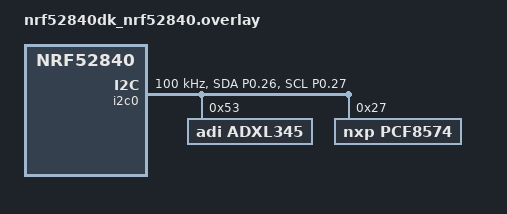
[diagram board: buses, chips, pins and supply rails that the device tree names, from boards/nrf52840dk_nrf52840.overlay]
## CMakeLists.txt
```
#
# Copyright (c) 2020 Nordic Semiconductor ASA
#
# SPDX-License-Identifier: LicenseRef-Nordic-5-Clause
#
cmake_minimum_required(VERSION 3.20.0)

find_package(Zephyr REQUIRED HINTS $ENV{ZEPHYR_BASE})
project(ble_mesh_accel)

target_include_directories(app PRIVATE include)

target_sources(app PRIVATE
	src/main.c
	src/chat_cli.c
	src/model_handler.c)
```

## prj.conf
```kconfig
# ── I2C + Sensor ────────────────────────────────────────────────────────────
CONFIG_I2C=y
CONFIG_PINCTRL=y
CONFIG_SENSOR=y
CONFIG_ADXL345=y

# ── BLE Mesh ─────────────────────────────────────────────────────────────────
CONFIG_BT=y
CONFIG_BT_MESH=y
CONFIG_BT_OBSERVER=y
CONFIG_BT_PERIPHERAL=y
CONFIG_BT_MESH_RELAY=y
CONFIG_BT_MESH_GATT_PROXY=y
CONFIG_BT_MESH_PB_GATT=y
# MESSAGE_LENGTH=90 → BUF = OP(3) + payload(91) + MIC_SHORT(4) = 98 bytes
# ceil(98/12) = 9 segments required
CONFIG_BT_MESH_TX_SEG_MAX=9
CONFIG_BT_MESH_RX_SEG_MAX=9
# 동시 세그먼트 TX 컨텍스트 수 (기본 1 → EBUSY 방지)
CONFIG_BT_MESH_TX_SEG_MSG_COUNT=2

# ── Persistent storage (Mesh 네트워크 키 / 주소 Flash 저장) ──────────────────
CONFIG_FLASH=y
CONFIG_FLASH_MAP=y
CONFIG_NVS=y
CONFIG_SETTINGS=y
CONFIG_BT_SETTINGS=y
CONFIG_MPU_ALLOW_FLASH_WRITE=y

# ── Shell (UART provisioning 명령 + model_handler 디버그 출력) ────────────────
# SHELL_BACKEND_UART 는 nRF52840 DK 기본 defconfig에서 자동 활성화된다.
CONFIG_SHELL=y

# ── DK library (OOB 프로비저닝 버튼 + attention LED blink) ───────────────────
CONFIG_DK_LIBRARY=y
CONFIG_HWINFO=y
CONFIG_BT_MESH_DK_PROV=y

# ── Shell 스택 크기 (sensor get 시 BUS FAULT 방지) ───────────────────────────
CONFIG_SHELL_STACK_SIZE=4096

# ── Logging ──────────────────────────────────────────────────────────────────
CONFIG_LOG=y
```

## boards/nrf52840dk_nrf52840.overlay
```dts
/*
 * nRF52840 DK — 1602 LCD (PCF8574 I2C backpack) + ADXL345 가속도계 (GY-291) overlay
 *
 * ── 1602 LCD (PCF8574 I2C 백팩) 연결 ──────────────────────────────────────
 *  LCD 모듈   │  nRF52840 DK
 * ────────────┼────────────────────────────────────────────────────────────
 *  GND        │  GND  (J2 핀1)
 *  VCC        │  VCC (3.3V → J2 핀2, 또는 5V → P22 핀3)
 *  SDA        │  P0.26 (Arduino A4 / J3 핀7)   ← ADXL345 SDA 공유
 *  SCL        │  P0.27 (Arduino A5 / J3 핀8)   ← ADXL345 SCL 공유
 * ─────────────────────────────────────────────────────────────────────────
 *
 * PCF8574 I2C 주소: 0x27 (A0=A1=A2=1, 기본값)
 *                  0x3F (PCF8574AT 칩 사용 시)
 *
 * ── GY-291 (ADXL345) 연결 ─────────────────────────────────────────────────
 *  GY-291 핀  │  nRF52840 DK                    │  비고
 * ────────────┼─────────────────────────────────┼───────────────────────────
 *  GND        │  GND  (J2 핀1)                  │
 *  VCC        │  3.3V (J2 핀2)                  │  3.3V 전용 — 5V 금지
 *  CS         │  3.3V (J2 핀2)                  │  HIGH = I2C 모드 선택
 *  SDO        │  GND  (J2 핀1)                  │  LOW  = I2C 주소 0x53
 *             │                                 │  HIGH = I2C 주소 0x1D
 *  SDA        │  P0.26 (Arduino A4 / J3 핀7)   │  LCD SDA와 동일 버스
 *  SCL        │  P0.27 (Arduino A5 / J3 핀8)   │  LCD SCL와 동일 버스
 *  INT1       │  P1.08 (Arduino D8 / J2 헤더)  │  선택사항 — 폴링 시 미연결 가능
 *  INT2       │  P1.10 (J2 확장 헤더)           │  선택사항 — 폴링 시 미연결 가능
 * ─────────────────────────────────────────────────────────────────────────
 *
 * ADXL345 I2C 주소: 0x53 (SDO → GND, 기본값)
 *                  0x1D (SDO → VCC)
 */

&pinctrl {
	i2c0_default: i2c0_default {
		group1 {
			psels = <NRF_PSEL(TWIM_SDA, 0, 26)>,
				<NRF_PSEL(TWIM_SCL, 0, 27)>;
			bias-pull-up;
		};
	};

	i2c0_sleep: i2c0_sleep {
		group1 {
			psels = <NRF_PSEL(TWIM_SDA, 0, 26)>,
				<NRF_PSEL(TWIM_SCL, 0, 27)>;
			low-power-enable;
			bias-pull-up;  /* sleep 중 버스 HIGH 유지 → 복귀 시 hang 방지 */
		};
	};
};

&i2c0 {
	compatible = "nordic,nrf-twim";
	status = "okay";
	pinctrl-0 = <&i2c0_default>;
	pinctrl-1 = <&i2c0_sleep>;
	pinctrl-names = "default", "sleep";
	clock-frequency = <I2C_BITRATE_STANDARD>;

	adxl345: adxl345@53 {
		compatible = "adi,adxl345";
		reg = <0x53>;
		/* SDO → VCC 연결 시 reg = <0x1D> 로 변경 */
		/* NCS v2.4.0 바인딩은 int-gpios 미지원 — 폴링 모드로 동작 */
	};

	/* PCF8574 I2C 백팩 (LCD 1602) — main.c 에서 i2c_write()로 직접 제어 */
	pcf8574: pcf8574@27 {
		compatible = "nxp,pcf8574";
		reg = <0x27>;
		/* PCF8574AT 칩 사용 시 reg = <0x3F> 로 변경 */
		gpio-controller;
		#gpio-cells = <2>;
		ngpios = <8>;
	};
};
```

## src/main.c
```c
/*
 * BLE Mesh 분산 가속도 모니터링 노드
 *
 * 동작:
 *   1. ADXL345 (I2C 0x53) 에서 X/Y/Z 가속도를 500 ms 마다 읽는다.
 *   2. Provisioned 상태이면 BLE Mesh로 데이터를 publish 한다.
 *      메시지 포맷: "A:<x_centi>,<y_centi>,<z_centi>"
 *      예) "A:123,-234,981" → x=1.23, y=-2.34, z=9.81 m/s²
 *   3. 다른 노드의 데이터를 수신하면 model_handler가 파싱해 저장한다.
 *   4. LCD 1602 (PCF8574 I2C 백팩 0x27) 에 표시한다.
 *      Line 0: 로컬 노드 X, Y 가속도
 *      Line 1: 수신한 원격 노드 주소 + X 가속도
 *              (미수신: "Mesh: waiting..."  / 미프로비전: "Mesh: no prov  ")
 *
 * I2C 버스 (P0.26 SDA / P0.27 SCL) 공유:
 *   ADXL345  @ 0x53
 *   PCF8574  @ 0x27
 *
 * BLE Mesh 프로비저닝:
 *   nRF Mesh 앱 또는 UART shell 명령으로 수행한다.
 *   프로비전 후 Chat CLI 모델에 App Key 바인딩 + 그룹 주소 구독 설정 필요.
 */

#include <zephyr/kernel.h>
#include <zephyr/device.h>
#include <zephyr/drivers/sensor.h>
#include <zephyr/drivers/i2c.h>
#include <zephyr/bluetooth/bluetooth.h>
#include <zephyr/settings/settings.h>
#include <bluetooth/mesh/dk_prov.h>
#include <dk_buttons_and_leds.h>
#include <stdio.h>

#include "model_handler.h"

#include <zephyr/logging/log.h>
LOG_MODULE_REGISTER(chat, CONFIG_LOG_DEFAULT_LEVEL);

#define ACCEL_NODE              DT_NODELABEL(adxl345)
#define LCD_I2C_NODE            DT_NODELABEL(i2c0)
#define LCD_ADDR                0x27
#define POLL_INTERVAL_MS        200   /* 센서 샘플링 주기 (LCD 갱신 기준) */
#define CHANGE_THRESHOLD_CENTI  5     /* 변화 감지 임계값: 0.05 m/s² */
#define MIN_PUB_INTERVAL_MS     1000  /* 변화 감지 시에도 최소 전송 간격 */
#define KEEPALIVE_INTERVAL_MS   5000  /* 변화 없어도 강제 publish 주기 */

/* PCF8574 핀 마스크 */
#define LCD_RS  BIT(0)
#define LCD_RW  BIT(1)
#define LCD_E   BIT(2)
#define LCD_BL  BIT(3)

static const struct device *lcd_i2c;

/* ── 이벤트 기반 publish 상태 ─────────────────────────────────────────────── */

static int32_t last_pub_x = INT32_MIN;
static int32_t last_pub_y = INT32_MIN;
static int32_t last_pub_z = INT32_MIN;
static int64_t last_pub_ms;

static inline int32_t i32_abs(int32_t v) { return v < 0 ? -v : v; }

static bool accel_needs_publish(int32_t x, int32_t y, int32_t z)
{
	int64_t elapsed = k_uptime_get() - last_pub_ms;

	/* keepalive: 변화 여부 무관하게 강제 전송 */
	if (elapsed >= KEEPALIVE_INTERVAL_MS) {
		return true;
	}
	/* 최소 전송 간격 미달 시 변화가 있어도 전송 보류 */
	if (elapsed < MIN_PUB_INTERVAL_MS) {
		return false;
	}
	return (i32_abs(x - last_pub_x) > CHANGE_THRESHOLD_CENTI ||
		i32_abs(y - last_pub_y) > CHANGE_THRESHOLD_CENTI ||
		i32_abs(z - last_pub_z) > CHANGE_THRESHOLD_CENTI);
}

/* ── PCF8574 / HD44780 저수준 ──────────────────────────────────────────── */

static void pcf_write(uint8_t val)
{
	i2c_write(lcd_i2c, &val, 1, LCD_ADDR);
}

static void lcd_pulse_enable(uint8_t data)
{
	pcf_write(data | LCD_E);
	k_busy_wait(1);
	pcf_write(data & ~LCD_E);
	k_busy_wait(50);
}

static void lcd_write_nibble(uint8_t nibble, uint8_t flags)
{
	uint8_t data = (nibble << 4) | flags | LCD_BL;
	lcd_pulse_enable(data);
}

static void lcd_send(uint8_t byte, uint8_t flags)
{
	lcd_write_nibble(byte >> 4, flags);
	lcd_write_nibble(byte & 0x0F, flags);
	k_busy_wait(50);
}

static inline void lcd_cmd(uint8_t cmd) { lcd_send(cmd, 0); }
static inline void lcd_putc(char c)     { lcd_send((uint8_t)c, LCD_RS); }

/* ── LCD 초기화 (4비트 모드) ─────────────────────────────────────────────── */

static void lcd_init(void)
{
	k_msleep(50);

	/* 4비트 초기화 시퀀스 */
	lcd_write_nibble(0x03, 0); k_msleep(5);
	lcd_write_nibble(0x03, 0); k_busy_wait(150);
	lcd_write_nibble(0x03, 0); k_busy_wait(150);
	lcd_write_nibble(0x02, 0); k_busy_wait(150);

	lcd_cmd(0x28); /* 4비트, 2라인, 5×8 */
	lcd_cmd(0x0C); /* Display ON, 커서 OFF */
	lcd_cmd(0x06); /* 자동 증가, 시프트 없음 */
	lcd_cmd(0x01); /* 화면 지우기 */
	k_msleep(2);
}

static void lcd_set_cursor(uint8_t col, uint8_t row)
{
	uint8_t addr = col + (row == 0 ? 0x00 : 0x40);
	lcd_cmd(0x80 | addr);
}

static void lcd_puts(const char *s)
{
	while (*s) {
		lcd_putc(*s++);
	}
}

/* ── 값 포맷 함수 ──────────────────────────────────────────────────────── */

/*
 * sensor_value → 6문자 문자열: <부호><2정수>.<2소수>
 * 예) 1.23 → " 01.23"   -2.34 → "-02.34"
 * buf 크기: 최소 7바이트 (6문자 + null)
 */
static void fmt_sv(char *buf, const struct sensor_value *sv)
{
	int32_t i = sv->val1;
	int32_t f = sv->val2;

	bool neg = (i < 0) || (i == 0 && f < 0);
	if (i < 0) { i = -i; }
	if (f < 0) { f = -f; }

	f = f / 10000; /* micro → centi */

	snprintf(buf, 7, "%c%02d.%02d", neg ? '-' : ' ', (int)i, (int)f);
}

/*
 * centiunits (val × 100) → 6문자 문자열 (fmt_sv와 동일 포맷).
 * 원격 노드 수신 데이터 표시에 사용.
 * buf 크기: 최소 7바이트
 */
static void fmt_centi(char *buf, int32_t cv)
{
	bool neg = cv < 0;

	if (neg) { cv = -cv; }
	snprintf(buf, 7, "%c%02d.%02d", neg ? '-' : ' ',
		 (int)(cv / 100), (int)(cv % 100));
}

/* ── sensor_value → centiunits 변환 ────────────────────────────────────── */

static int32_t sv_to_centi(const struct sensor_value *sv)
{
	return sv->val1 * 100 + sv->val2 / 10000;
}

/* ── 메인 ──────────────────────────────────────────────────────────────── */

int main(void)
{
	int err;

	const struct device *accel = DEVICE_DT_GET(ACCEL_NODE);

	lcd_i2c = DEVICE_DT_GET(LCD_I2C_NODE);

	/* ── 하드웨어 초기화 ── */
	if (!device_is_ready(lcd_i2c)) {
		printk("I2C bus not ready\n");
		return -ENODEV;
	}

	if (!device_is_ready(accel)) {
		printk("ADXL345 not ready\n");
		return -ENODEV;
	}

	lcd_init();
	lcd_set_cursor(0, 0);
	lcd_puts(" BLE Mesh Init  ");
	lcd_set_cursor(0, 1);
	lcd_puts(" Please wait... ");

	/* ── DK 버튼 + LED 초기화 (프로비저닝 OOB + attention blink) ── */
	/* NCS v2.5.0: dk_buttons_and_leds_init() 제거 → 분리 호출 */
	err = dk_leds_init();
	if (err) {
		printk("LEDs init failed: %d\n", err);
		return err;
	}

	err = dk_buttons_init(NULL);
	if (err) {
		printk("Buttons init failed: %d\n", err);
		return err;
	}

	/* ── BT 스택 활성화 ── */
	err = bt_enable(NULL);
	if (err) {
		printk("bt_enable failed: %d\n", err);
		return err;
	}

	/* ── BLE Mesh 초기화 ──
	 * bt_mesh_dk_prov_init(): DK 보드 기반 OOB 프로비저닝 콜백 반환
	 *   - Output OOB: LED blink (숫자 표시)
	 *   - Input  OOB: 버튼 누름 횟수
	 * model_handler_init(): Chat CLI Vendor Model composition 반환
	 */
	err = bt_mesh_init(bt_mesh_dk_prov_init(), model_handler_init());
	if (err) {
		printk("bt_mesh_init failed: %d\n", err);
		return err;
	}

	/* ── Flash 설정 복원 (이전 프로비저닝 / 네트워크 키 로드) ── */
	if (IS_ENABLED(CONFIG_BT_SETTINGS)) {
		settings_load();
	}

	/* ── 프로비저닝 Bearer 활성화 ──
	 * settings_load()로 이미 프로비저닝된 경우 no-op.
	 * 미프로비저닝 상태이면 ADV + GATT bearer로 광고 시작 → 앱에서 인식 가능.
	 */
	bt_mesh_prov_enable(BT_MESH_PROV_ADV | BT_MESH_PROV_GATT);

	lcd_set_cursor(0, 0);
	lcd_puts("BLE Mesh Ready! ");
	lcd_set_cursor(0, 1);
	lcd_puts(bt_mesh_is_provisioned() ? "Provisioned!    "
					  : "Use nRF Mesh app");
	k_msleep(1500);

	/* ── 메인 루프: 센서 읽기 → 변화 감지 → Mesh publish → LCD 업데이트 ── */
	while (1) {
		struct sensor_value ax, ay, az;
		char xbuf[7], ybuf[7];
		char line[17];

		/* 1. ADXL345 샘플 취득 */
		if (sensor_sample_fetch(accel) < 0) {
			lcd_set_cursor(0, 0);
			lcd_puts("  Fetch Error   ");
			k_msleep(POLL_INTERVAL_MS);
			continue;
		}

		sensor_channel_get(accel, SENSOR_CHAN_ACCEL_X, &ax);
		sensor_channel_get(accel, SENSOR_CHAN_ACCEL_Y, &ay);
		sensor_channel_get(accel, SENSOR_CHAN_ACCEL_Z, &az);

		/* 2. 변화 감지 후 BLE Mesh publish
		 *    - 어느 축이든 CHANGE_THRESHOLD_CENTI 초과 변화 시 즉시 전송
		 *    - 변화 없어도 KEEPALIVE_INTERVAL_MS 마다 강제 전송 (gateway 온라인 감지용)
		 */
		if (bt_mesh_is_provisioned()) {
			int32_t cx = sv_to_centi(&ax);
			int32_t cy = sv_to_centi(&ay);
			int32_t cz = sv_to_centi(&az);

			if (accel_needs_publish(cx, cy, cz)) {
				model_handler_publish_accel(cx, cy, cz);
				last_pub_x  = cx;
				last_pub_y  = cy;
				last_pub_z  = cz;
				last_pub_ms = k_uptime_get();
			}
		}

		/* 3. LCD Line 0: 로컬 X, Y 가속도 */
		fmt_sv(xbuf, &ax);
		fmt_sv(ybuf, &ay);
		snprintf(line, sizeof(line), "X=%sY=%s", xbuf, ybuf);
		lcd_set_cursor(0, 0);
		lcd_puts(line);

		/* 4. LCD Line 1: 원격 노드 데이터 또는 상태 메시지 */
		if (!bt_mesh_is_provisioned()) {
			lcd_set_cursor(0, 1);
			lcd_puts("Mesh: no prov   ");
		} else {
			const struct model_handler_remote_accel *rem =
				model_handler_get_remote_accel();

			if (!rem->valid) {
				lcd_set_cursor(0, 1);
				lcd_puts("Mesh: waiting...");
			} else {
				/*
				 * 원격 노드 주소(4자리 hex) + X 가속도 표시
				 * 예) "R:0002 X+01.23  " (16자)
				 */
				char rx_buf[7];

				fmt_centi(rx_buf, rem->x_centi);
				snprintf(line, sizeof(line),
					 "R:%04X X%s   ",
					 rem->addr, rx_buf);
				lcd_set_cursor(0, 1);
				lcd_puts(line);
			}
		}

		k_msleep(POLL_INTERVAL_MS);
	}

	return 0;
}
```

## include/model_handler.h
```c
/*
 * Copyright (c) 2020 Nordic Semiconductor ASA
 *
 * SPDX-License-Identifier: LicenseRef-Nordic-5-Clause
 */

/**
 * @file
 * @brief Model handler
 */

#ifndef MODEL_HANDLER_H__
#define MODEL_HANDLER_H__

#include <zephyr/bluetooth/mesh.h>
#include <stdint.h>
#include <stdbool.h>

#ifdef __cplusplus
extern "C" {
#endif

/**
 * @brief BLE Mesh로 수신한 원격 노드 가속도 데이터.
 *
 * x/y/z_centi 는 실제값 × 100 의 정수 표현.
 * 예) x_centi = 123  →  1.23 m/s²
 *     y_centi = -234 → -2.34 m/s²
 */
struct model_handler_remote_accel {
	uint16_t addr;     /**< 송신 노드 유니캐스트 주소 */
	int32_t  x_centi; /**< X축 가속도 × 100 */
	int32_t  y_centi; /**< Y축 가속도 × 100 */
	int32_t  z_centi; /**< Z축 가속도 × 100 */
	bool     valid;   /**< 첫 수신 이후 true */
};

/** Mesh composition data 초기화 및 반환. main()에서 bt_mesh_init()에 전달. */
const struct bt_mesh_comp *model_handler_init(void);

/**
 * @brief 로컬 가속도 데이터를 BLE Mesh로 publish.
 *
 * 노드가 provisioned 된 이후에만 실제 전송이 이루어진다.
 * 값은 sensor_value 기준 centiunits (val1×100 + val2/10000).
 */
void model_handler_publish_accel(int32_t x_centi, int32_t y_centi, int32_t z_centi);

/**
 * @brief 마지막으로 수신한 원격 노드 가속도 데이터 반환.
 *
 * valid 필드가 false이면 아직 수신된 데이터가 없음.
 */
const struct model_handler_remote_accel *model_handler_get_remote_accel(void);

#ifdef __cplusplus
}
#endif

#endif /* MODEL_HANDLER_H__ */
```

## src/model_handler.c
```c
/*
 * Copyright (c) 2019 Nordic Semiconductor ASA
 *
 * SPDX-License-Identifier: LicenseRef-Nordic-5-Clause
 */

#include <stdio.h>
#include <stdlib.h>

#include <zephyr/bluetooth/bluetooth.h>
#include <bluetooth/mesh/models.h>
#include <dk_buttons_and_leds.h>

#include <zephyr/shell/shell.h>
#include <zephyr/shell/shell_uart.h>

#include "chat_cli.h"
#include "model_handler.h"

#include <zephyr/logging/log.h>
LOG_MODULE_DECLARE(chat);

static const struct shell *chat_shell;

/* ── 원격 노드 가속도 데이터 저장소 ─────────────────────────────────────── */
static struct model_handler_remote_accel remote_accel;

/******************************************************************************/
/*************************** Health server setup ******************************/
/******************************************************************************/
/* Set up a repeating delayed work to blink the DK's LEDs when attention is
 * requested.
 */
static struct k_work_delayable attention_blink_work;
static bool attention;

static void attention_blink(struct k_work *work)
{
	static int idx;
	const uint8_t pattern[] = {
		BIT(0) | BIT(1),
		BIT(1) | BIT(2),
		BIT(2) | BIT(3),
		BIT(3) | BIT(0),
	};

	if (attention) {
		dk_set_leds(pattern[idx++ % ARRAY_SIZE(pattern)]);
		k_work_reschedule(&attention_blink_work, K_MSEC(30));
	} else {
		dk_set_leds(DK_NO_LEDS_MSK);
	}
}

static void attention_on(struct bt_mesh_model *mod)
{
	attention = true;
	k_work_reschedule(&attention_blink_work, K_NO_WAIT);
}

static void attention_off(struct bt_mesh_model *mod)
{
	/* Will stop rescheduling blink timer */
	attention = false;
}

static const struct bt_mesh_health_srv_cb health_srv_cb = {
	.attn_on = attention_on,
	.attn_off = attention_off,
};

static struct bt_mesh_health_srv health_srv = {
	.cb = &health_srv_cb,
};

BT_MESH_HEALTH_PUB_DEFINE(health_pub, 0);

/******************************************************************************/
/***************************** Chat model setup *******************************/
/******************************************************************************/
struct presence_cache {
	uint16_t addr;
	enum bt_mesh_chat_cli_presence presence;
};

/* Cache of Presence values of other chat clients. */
static struct presence_cache presence_cache[
			    CONFIG_BT_MESH_CHAT_SAMPLE_PRESENCE_CACHE_SIZE];

static const uint8_t *presence_string[] = {
	[BT_MESH_CHAT_CLI_PRESENCE_AVAILABLE] = "available",
	[BT_MESH_CHAT_CLI_PRESENCE_AWAY] = "away",
	[BT_MESH_CHAT_CLI_PRESENCE_DO_NOT_DISTURB] = "dnd",
	[BT_MESH_CHAT_CLI_PRESENCE_INACTIVE] = "inactive",
};

/**
 * Returns true if the specified address is an address of the local element.
 */
static bool address_is_local(struct bt_mesh_model *mod, uint16_t addr)
{
	return bt_mesh_model_elem(mod)->addr == addr;
}

/**
 * Returns true if the provided address is unicast address.
 */
static bool address_is_unicast(uint16_t addr)
{
	return (addr > 0) && (addr <= 0x7FFF);
}

/**
 * Returns true if the node is new or the presence status is different from
 * the one stored in the cache.
 */
static bool presence_cache_entry_check_and_update(uint16_t addr,
				       enum bt_mesh_chat_cli_presence presence)
{
	static size_t presence_cache_head;
	size_t i;

	/* Find address in cache. */
	for (i = 0; i < ARRAY_SIZE(presence_cache); i++) {
		if (presence_cache[i].addr == addr) {
			if (presence_cache[i].presence == presence) {
				return false;
			}

			/* Break since the node in the cache. */
			break;
		}
	}

	/* Not in cache. */
	if (i == ARRAY_SIZE(presence_cache)) {
		for (i = 0; i < ARRAY_SIZE(presence_cache); i++) {
			if (!presence_cache[i].addr) {
				break;
			}
		}

		/* Cache is full. */
		if (i == ARRAY_SIZE(presence_cache)) {
			i = presence_cache_head;
			presence_cache_head = (presence_cache_head + 1)
			% CONFIG_BT_MESH_CHAT_SAMPLE_PRESENCE_CACHE_SIZE;
		}
	}

	/* Update cache. */
	presence_cache[i].addr = addr;
	presence_cache[i].presence = presence;

	return true;
}

static void print_client_status(void);

static void handle_chat_start(struct bt_mesh_chat_cli *chat)
{
	print_client_status();
}

static void handle_chat_presence(struct bt_mesh_chat_cli *chat,
				 struct bt_mesh_msg_ctx *ctx,
				 enum bt_mesh_chat_cli_presence presence)
{
	if (address_is_local(chat->model, ctx->addr)) {
		if (address_is_unicast(ctx->recv_dst)) {
			shell_print(chat_shell, "<you> are %s",
				    presence_string[presence]);
		}
	} else {
		if (address_is_unicast(ctx->recv_dst)) {
			shell_print(chat_shell, "<0x%04X> is %s", ctx->addr,
				    presence_string[presence]);
		} else if (presence_cache_entry_check_and_update(ctx->addr,
								 presence)) {
			shell_print(chat_shell, "<0x%04X> is now %s",
				    ctx->addr,
				    presence_string[presence]);
		}
	}
}

static void handle_chat_message(struct bt_mesh_chat_cli *chat,
				struct bt_mesh_msg_ctx *ctx,
				const uint8_t *msg)
{
	/* Don't process own messages. */
	if (address_is_local(chat->model, ctx->addr)) {
		return;
	}

	/*
	 * 가속도 데이터 메시지 파싱: "A:<x_centi>,<y_centi>,<z_centi>"
	 * 예) "A:123,-234,981"  →  x=1.23, y=-2.34, z=9.81 m/s²
	 */
	if (msg[0] == 'A' && msg[1] == ':') {
		const char *p = (const char *)msg + 2;
		char *end;

		int32_t xi = (int32_t)strtol(p,       &end, 10);
		if (*end != ',') goto fallback;
		int32_t yi = (int32_t)strtol(end + 1, &end, 10);
		if (*end != ',') goto fallback;
		int32_t zi = (int32_t)strtol(end + 1, &end, 10);

		remote_accel.addr    = ctx->addr;
		remote_accel.x_centi = xi;
		remote_accel.y_centi = yi;
		remote_accel.z_centi = zi;
		remote_accel.valid   = true;
		return;
	}

fallback:
	shell_print(chat_shell, "<0x%04X>: %s", ctx->addr, msg);
}

static void handle_chat_private_message(struct bt_mesh_chat_cli *chat,
					struct bt_mesh_msg_ctx *ctx,
					const uint8_t *msg)
{
	/* Don't print own messages. */
	if (address_is_local(chat->model, ctx->addr)) {
		return;
	}

	shell_print(chat_shell, "<0x%04X>: *you* %s", ctx->addr, msg);
}

static void handle_chat_message_reply(struct bt_mesh_chat_cli *chat,
				      struct bt_mesh_msg_ctx *ctx)
{
	shell_print(chat_shell, "<0x%04X> received the message", ctx->addr);
}

static const struct bt_mesh_chat_cli_handlers chat_handlers = {
	.start = handle_chat_start,
	.presence = handle_chat_presence,
	.message = handle_chat_message,
	.private_message = handle_chat_private_message,
	.message_reply = handle_chat_message_reply,
};

/* .. include_startingpoint_model_handler_rst_1 */
static struct bt_mesh_chat_cli chat = {
	.handlers = &chat_handlers,
};

static struct bt_mesh_elem elements[] = {
	BT_MESH_ELEM(
		1,
		BT_MESH_MODEL_LIST(
			BT_MESH_MODEL_CFG_SRV,
			BT_MESH_MODEL_HEALTH_SRV(&health_srv, &health_pub)),
		BT_MESH_MODEL_LIST(BT_MESH_MODEL_CHAT_CLI(&chat))),
};
/* .. include_endpoint_model_handler_rst_1 */

static void print_client_status(void)
{
	if (!bt_mesh_is_provisioned()) {
		shell_print(chat_shell,
			    "The mesh node is not provisioned. Please provision the mesh node before using the chat.");
	} else {
		shell_print(chat_shell,
			    "The mesh node is provisioned. The client address is 0x%04x.",
			    bt_mesh_model_elem(chat.model)->addr);
	}

	shell_print(chat_shell, "Current presence: %s",
		    presence_string[chat.presence]);
}

static const struct bt_mesh_comp comp = {
	.cid = CONFIG_BT_COMPANY_ID,
	.elem = elements,
	.elem_count = ARRAY_SIZE(elements),
};

/******************************************************************************/
/******************************** Chat shell **********************************/
/******************************************************************************/
static int cmd_status(const struct shell *shell, size_t argc, char *argv[])
{
	print_client_status();

	return 0;
}

static int cmd_message(const struct shell *shell, size_t argc, char *argv[])
{
	int err;

	if (argc < 2) {
		return -EINVAL;
	}

	err = bt_mesh_chat_cli_message_send(&chat, argv[1]);
	if (err) {
		LOG_WRN("Failed to send message: %d", err);
	}

	/* Print own messages in the chat. */
	shell_print(shell, "<you>: %s", argv[1]);

	return 0;
}

static int cmd_private_message(const struct shell *shell, size_t argc,
			       char *argv[])
{
	uint16_t addr;
	int err;

	if (argc < 3) {
		return -EINVAL;
	}

	addr = strtol(argv[1], NULL, 0);

	/* Print own message to the chat. */
	shell_print(shell, "<you>: *0x%04X* %s", addr, argv[2]);

	err = bt_mesh_chat_cli_private_message_send(&chat, addr, argv[2]);
	if (err) {
		LOG_WRN("Failed to publish message: %d", err);
	}

	return 0;
}

static int cmd_presence_set(const struct shell *shell, size_t argc,
			    char *argv[])
{
	size_t i;

	if (argc < 2) {
		return -EINVAL;
	}

	for (i = 0; i < ARRAY_SIZE(presence_string); i++) {
		if (!strcmp(argv[1], presence_string[i])) {
			enum bt_mesh_chat_cli_presence presence;
			int err;

			presence = i;

			err = bt_mesh_chat_cli_presence_set(&chat, presence);
			if (err) {
				LOG_WRN("Failed to update presence: %d", err);
			}

			/* Print own presence in the chat. */
			shell_print(shell, "You are now %s",
				    presence_string[presence]);

			return 0;
		}
	}

	shell_print(shell,
		    "Unknown presence status: %s. Possible presence statuses:",
		    argv[1]);
	for (i = 0; i < ARRAY_SIZE(presence_string); i++) {
		shell_print(shell, "%s", presence_string[i]);
	}

	return 0;
}

static int cmd_presence_get(const struct shell *shell, size_t argc,
			    char *argv[])
{
	uint16_t addr;
	int err;

	if (argc < 2) {
		return -EINVAL;
	}

	addr = strtol(argv[1], NULL, 0);

	err = bt_mesh_chat_cli_presence_get(&chat, addr);
	if (err) {
		LOG_WRN("Failed to publish message: %d", err);
	}

	return 0;
}

SHELL_STATIC_SUBCMD_SET_CREATE(presence_cmds,
	SHELL_CMD_ARG(set, NULL,
		      "Set presence of the current client <presence: available, away, dnd or inactive>",
		      cmd_presence_set, 2, 0),
	SHELL_CMD_ARG(get, NULL,
		      "Get presence status of the remote node <node>",
		      cmd_presence_get, 2, 0),
	SHELL_SUBCMD_SET_END
);

static int cmd_presence(const struct shell *shell, size_t argc, char *argv[])
{
	if (argc == 1) {
		shell_help(shell);
		/* shell returns 1 when help is printed */
		return 1;
	}

	if (argc != 3) {
		return -EINVAL;
	}

	return 0;
}

SHELL_STATIC_SUBCMD_SET_CREATE(chat_cmds,
	SHELL_CMD_ARG(status, NULL, "Print client status", cmd_status, 1, 0),
	SHELL_CMD(presence, &presence_cmds, "Presence commands", cmd_presence),
	SHELL_CMD_ARG(private, NULL,
		      "Send a private text message to a client <node> <message>",
		      cmd_private_message, 3, 0),
	SHELL_CMD_ARG(msg, NULL, "Send a text message to the chat <message>",
		      cmd_message, 2, 0),
	SHELL_SUBCMD_SET_END
);

static int cmd_chat(const struct shell *shell, size_t argc, char **argv)
{
	if (argc == 1) {
		shell_help(shell);
		/* shell returns 1 when help is printed */
		return 1;
	}

	shell_error(shell, "%s unknown parameter: %s", argv[0], argv[1]);

	return -EINVAL;
}

SHELL_CMD_ARG_REGISTER(chat, &chat_cmds, "Bluetooth Mesh Chat Client commands",
		       cmd_chat, 1, 1);

/******************************************************************************/
/******************************** Public API **********************************/
/******************************************************************************/
const struct bt_mesh_comp *model_handler_init(void)
{
	k_work_init_delayable(&attention_blink_work, attention_blink);

	chat_shell = shell_backend_uart_get_ptr();
	shell_print(chat_shell, ">>> BLE Mesh Accel Node <<<");

	return &comp;
}

void model_handler_publish_accel(int32_t x_centi, int32_t y_centi, int32_t z_centi)
{
	uint8_t msg[32];

	snprintf((char *)msg, sizeof(msg), "A:%d,%d,%d",
		 (int)x_centi, (int)y_centi, (int)z_centi);

	/* 앱에서 설정된 retransmit을 무시하고 강제로 0으로 설정.
	 * 1000ms 주기 publish에서 retransmit이 SAR 컨텍스트를 고갈시키는 것을 방지.
	 * BT_MESH_PUB_RETRANSMIT(count=0, steps=0) = 0
	 */
	if (chat.model && chat.model->pub) {
		chat.model->pub->retransmit = 0;
	}

	int err = bt_mesh_chat_cli_message_send(&chat, msg);

	if (err && err != -EADDRNOTAVAIL) {
		LOG_WRN("accel publish failed: %d", err);
	}
}

const struct model_handler_remote_accel *model_handler_get_remote_accel(void)
{
	return &remote_accel;
}
```
